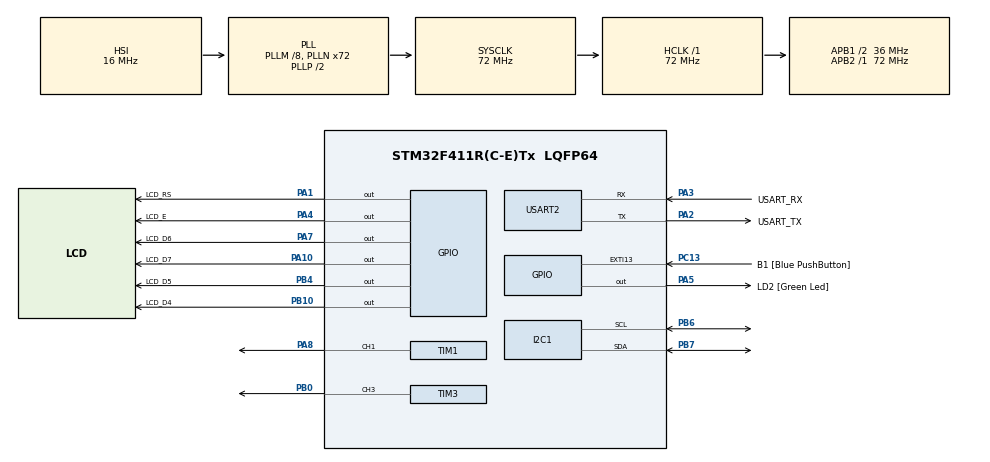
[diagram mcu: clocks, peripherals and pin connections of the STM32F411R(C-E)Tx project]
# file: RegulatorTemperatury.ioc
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Dma.Request0=USART2_RX
Dma.USART2_RX.0.Direction=DMA_PERIPH_TO_MEMORY
Dma.USART2_RX.0.FIFOMode=DMA_FIFOMODE_DISABLE
Dma.USART2_RX.0.Instance=DMA1_Stream5
Dma.USART2_RX.0.MemDataAlignment=DMA_MDATAALIGN_BYTE
Dma.USART2_RX.0.MemInc=DMA_MINC_ENABLE
Dma.USART2_RX.0.Mode=DMA_NORMAL
Dma.USART2_RX.0.PeriphDataAlignment=DMA_PDATAALIGN_BYTE
Dma.USART2_RX.0.PeriphInc=DMA_PINC_DISABLE
Dma.USART2_RX.0.Priority=DMA_PRIORITY_LOW
Mcu.Family=STM32F4
Mcu.Name=STM32F411R(C-E)Tx
Mcu.Package=LQFP64
NVIC.DMA1_Stream5_IRQn=true\:0\:0\:false\:false\:true\:false\:true
NVIC.PriorityGroup=NVIC_PRIORITYGROUP_0
NVIC.TIM3_IRQn=true\:0\:0\:false\:false\:true\:true\:true
NVIC.USART2_IRQn=true\:0\:0\:false\:false\:true\:true\:true
PA1.GPIO_Label=LCD_RS
PA1.Signal=GPIO_Output
PA10.GPIO_Label=LCD_D7
PA10.Signal=GPIO_Output
PA13.GPIO_Label=TMS
PA13.Mode=Serial_Wire
PA13.Signal=SYS_JTMS-SWDIO
PA14.GPIO_Label=TCK
PA14.Mode=Serial_Wire
PA14.Signal=SYS_JTCK-SWCLK
PA2.GPIO_Label=USART_TX
PA2.Mode=Asynchronous
PA2.Signal=USART2_TX
PA3.GPIO_Label=USART_RX
PA3.Mode=Asynchronous
PA3.Signal=USART2_RX
PA4.GPIO_Label=LCD_E
PA4.Signal=GPIO_Output
PA5.GPIO_Label=LD2 [Green Led]
PA5.Signal=GPIO_Output
PA7.GPIO_Label=LCD_D6
PA7.Signal=GPIO_Output
PA8.Signal=S_TIM1_CH1
PB0.Signal=S_TIM3_CH3
PB10.GPIO_Label=LCD_D4
PB10.Signal=GPIO_Output
PB3.GPIO_Label=SWO
PB3.Signal=SYS_JTDO-SWO
PB4.GPIO_Label=LCD_D5
PB4.Signal=GPIO_Output
PB6.Mode=I2C
PB6.Signal=I2C1_SCL
PB7.Mode=I2C
PB7.Signal=I2C1_SDA
PC13-ANTI_TAMP.GPIO_Label=B1 [Blue PushButton]
PC13-ANTI_TAMP.GPIO_ModeDefaultEXTI=GPIO_MODE_IT_FALLING
PC13-ANTI_TAMP.Signal=GPXTI13
PC14-OSC32_IN.Mode=LSE-External-Oscillator
PC14-OSC32_IN.Signal=RCC_OSC32_IN
PC15-OSC32_OUT.Mode=LSE-External-Oscillator
PC15-OSC32_OUT.Signal=RCC_OSC32_OUT
PH0\ -\ OSC_IN.Mode=HSE-External-Clock-Source
PH0\ -\ OSC_IN.Signal=RCC_OSC_IN
PH1\ -\ OSC_OUT.Mode=HSE-External-Clock-Source
PH1\ -\ OSC_OUT.Signal=RCC_OSC_OUT
ProjectManager.HeapSize=0x200
ProjectManager.StackSize=0x400
ProjectManager.TargetToolchain=STM32CubeIDE
RCC.48MHZClocksFreq_Value=36000000
RCC.AHBFreq_Value=72000000
RCC.APB1CLKDivider=RCC_HCLK_DIV2
RCC.APB1Freq_Value=36000000
RCC.APB1TimFreq_Value=72000000
RCC.APB2Freq_Value=72000000
RCC.APB2TimFreq_Value=72000000
RCC.CortexFreq_Value=72000000
RCC.FLatency-AdvancedSettings=FLASH_LATENCY_2
RCC.HCLKFreq_Value=72000000
RCC.HSE_VALUE=8000000
RCC.HSI_VALUE=16000000
RCC.PLLM=8
RCC.PLLN=72
RCC.SYSCLKFreq_VALUE=72000000
RCC.SYSCLKSource=RCC_SYSCLKSOURCE_PLLCLK
RCC.VCOOutputFreq_Value=144000000
SH.S_TIM1_CH1.0=TIM1_CH1,PWM Generation1 CH1
SH.S_TIM3_CH3.0=TIM3_CH3,Output Compare3 CH3
TIM1.Channel-PWM\ Generation1\ CH1=TIM_CHANNEL_1
TIM1.Period=999
TIM1.Prescaler=719
TIM3.Channel-Output\ Compare3\ CH3=TIM_CHANNEL_3
TIM3.Period=9999
TIM3.Prescaler=7199
TIM3.TIM_MasterOutputTrigger=TIM_TRGO_RESET
USART2.VirtualMode=VM_ASYNC
VP_TIM3_VS_ClockSourceINT.Mode=Internal
board=NUCLEO-F411RE

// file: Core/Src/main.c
/* USER CODE BEGIN Header */
/**
  ******************************************************************************
  * @file           : main.c
  * @brief          : Main program body
  ******************************************************************************
  * @attention
  *
  * <h2><center>&copy; Copyright (c) 2022 STMicroelectronics.
  * All rights reserved.</center></h2>
  *
  * This software component is licensed by ST under BSD 3-Clause license,
  * the "License"; You may not use this file except in compliance with the
  * License. You may obtain a copy of the License at:
  *                        opensource.org/licenses/BSD-3-Clause
  *
  ******************************************************************************
  */
/* USER CODE END Header */
#include "main.h"
#include "dma.h"
#include "i2c.h"
#include "tim.h"
#include "usart.h"
#include "gpio.h"

/* USER CODE BEGIN Includes */
#include "BMPXX80.h"
#include "LCD.h"
#include <stdio.h>
#include <string.h>
/* USER CODE END Includes */

/* USER CODE BEGIN PTD */
typedef float float32_t;
typedef struct{
	float32_t Kp;
	float32_t Ki;
	float32_t Kd;
	float32_t dt;
	float32_t previous_error, previous_integral;
}pidRegulator; // PID regulator parameters and variables needed to implement discrete PID
/* USER CODE END PTD */

/* USER CODE BEGIN PD */
#define maxMessageSize 30
/* USER CODE END PD */

/* USER CODE BEGIN PV */
uint8_t singleMessageRecived[maxMessageSize]; //message buf for uart recive
uint8_t singleMessageTransmit[maxMessageSize]; //message buf for uart transmit
uint16_t messageSize = 0; //message size for uart
char stringForLCD[maxMessageSize]; //string used to display data on LCD
float temperature;
int setPoint = 0;
UART_HandleTypeDef huart2;
DMA_HandleTypeDef hdma_usart2_rx;

// PID regulator with parameters taken from matlab simulation of regulated process
pidRegulator pidR = { .Kp=0.09486671759812270, .Ki=0.000482928713856668, .Kd=1.50608802557373, .dt=1.0, .previous_error=0, .previous_integral=0};
/* USER CODE END PV */

void SystemClock_Config(void);
/* USER CODE BEGIN PFP */
float32_t calculate_discrete_pid(pid_t* pid, int setPoint, float32_t temperature){
	float32_t u=0, P, I, D, error, integral, derivative;

	error = setPoint-temperature;

	//proportional part
	P = pidR.Kp * error;

	//integral part
	integral = pidR.previous_integral + (error+pidR.previous_error) ;
	pidR.previous_integral = integral;
	I = pidR.Ki*integral*(pidR.dt/2.0);

	//derivative part
	derivative = (error - pidR.previous_error)/pidR.dt;
	pidR.previous_error = error;
	D = pidR.Kd*derivative;

	u = P  + I + D;

	return u;
}

//Uart handling
void HAL_UART_RxCpltCallback(UART_HandleTypeDef *huart) {
	if(huart->Instance == USART2){

		char *ptr = singleMessageRecived; //ptr to first char in message

		//if message == ?? then return current setPoint
		if(*ptr == '?'){
			messageSize = sprintf(singleMessageTransmit, "%d", setPoint);
			HAL_UART_Transmit_IT(&huart2, singleMessageTransmit, messageSize);
		} else { //else set new setPoint
			setPoint = atoi(ptr);
		}

		HAL_UART_Receive_IT(&huart2, singleMessageRecived, 2);
	}
}

/*void HAL_UARTEx_RxEventCallback(UART_HandleTypeDef *huart, uint16_t Size){
	if(huart->Instance == USART2){
		char *ptr = singleMessageRecived;
		if(*ptr == '?'){
			messageSize = sprintf(singleMessageTransmit, "%d", setPoint);
			HAL_UART_Transmit_IT(&huart2, singleMessageTransmit, messageSize);
		} else {
			setPoint = atoi(ptr);
			messageSize = sprintf(singleMessageTransmit, "%d", setPoint);
			HAL_UART_Transmit_IT(&huart2, singleMessageTransmit, messageSize);
		}
		HAL_UARTEx_ReceiveToIdle_DMA(&huart2, singleMessageRecived, maxMessageSize);
		__HAL_DMA_DISABLE_IT(&hdma_usart2_rx, DMA_IT_HT);
	}
}*/

void HAL_TIM_PeriodElapsedCallback(TIM_HandleTypeDef *htim){
	if(htim->Instance == TIM3){
		temperature = BMP280_ReadTemperature();                                       //reading temp from sensor

		sprintf(singleMessageTransmit, "%f", temperature);                            //temp to list of uint8_t conversion
		sprintf(stringForLCD, "%s\0", singleMessageTransmit);                         //list of uint8_t to string conversion
		LCD_goto_xy(0,11);                                                            //display curr temp on LCD
		LCD_write_text(stringForLCD);

		sprintf(singleMessageTransmit, "%d", setPoint);                               //setPoint to list of uint8_t conversion
		sprintf(stringForLCD, "%s\0", singleMessageTransmit);                         //list of uint8_t to string conversion
		LCD_goto_xy(1,11);                                                            //display setPoint on LCD
		LCD_write_text(stringForLCD);

		//calculating duty for PWM signal with PID regulator
		float dutyF = (999.0 * calculate_discrete_pid(&pidR, setPoint, temperature));
		uint16_t duty = 0;
		//saturation implementation
		if(dutyF < 0 ) duty = 0; else
		if(dutyF > 999.0) duty = 999; else
			duty = (uint16_t)dutyF;
		//set curr duty
		__HAL_TIM_SET_COMPARE(&htim1,TIM_CHANNEL_1,duty);
	}
}
/* USER CODE END PFP */

int main(void)
{

  /* MCU Configuration--------------------------------------------------------*/

  /* Reset of all peripherals, Initializes the Flash interface and the Systick. */
  HAL_Init();

  /* Configure the system clock */
  SystemClock_Config();

  /* Initialize all configured peripherals */
  MX_GPIO_Init();
  MX_USART2_UART_Init();
  MX_I2C1_Init();
  MX_TIM3_Init();
  MX_DMA_Init();
  MX_TIM1_Init();
  /* USER CODE BEGIN 2 */
  //HAL_UARTEx_ReceiveToIdle_DMA(&huart2, singleMessageRecived, maxMessageSize);
  //__HAL_DMA_DISABLE_IT(&hdma_usart2_rx, DMA_IT_HT);
  HAL_UART_Receive_IT(&huart2, singleMessageRecived, 2); //uart interrupt init
  HAL_TIM_Base_Start_IT(&htim3);                         //dt tim interrupt init
  LCD_init();                                            //LCD init + setting initial layout
  LCD_goto_xy(0,0);
  LCD_write_text("CurTemp : ");
  LCD_goto_xy(1,0);
  LCD_write_text("RefTemp : ");
  BMP280_Init(&hi2c1, BMP280_TEMPERATURE_16BIT, BMP280_STANDARD, BMP280_FORCEDMODE); //temp sensor init
  HAL_TIM_PWM_Start(&htim1, TIM_CHANNEL_1);                                          //PWM init
  __HAL_TIM_SET_COMPARE(&htim1,TIM_CHANNEL_1,0);                                     //init duty = 0
  /* USER CODE END 2 */

  /* Infinite loop */
  while (1)
  {

  }
}

void SystemClock_Config(void)
{
  RCC_OscInitTypeDef RCC_OscInitStruct = {0};
  RCC_ClkInitTypeDef RCC_ClkInitStruct = {0};

  /** Configure the main internal regulator output voltage
  */
  __HAL_RCC_PWR_CLK_ENABLE();
  __HAL_PWR_VOLTAGESCALING_CONFIG(PWR_REGULATOR_VOLTAGE_SCALE1);
  /** Initializes the RCC Oscillators according to the specified parameters
  * in the RCC_OscInitTypeDef structure.
  */
  RCC_OscInitStruct.OscillatorType = RCC_OSCILLATORTYPE_HSI;
  RCC_OscInitStruct.HSIState = RCC_HSI_ON;
  RCC_OscInitStruct.HSICalibrationValue = RCC_HSICALIBRATION_DEFAULT;
  RCC_OscInitStruct.PLL.PLLState = RCC_PLL_ON;
  RCC_OscInitStruct.PLL.PLLSource = RCC_PLLSOURCE_HSI;
  RCC_OscInitStruct.PLL.PLLM = 8;
  RCC_OscInitStruct.PLL.PLLN = 72;
  RCC_OscInitStruct.PLL.PLLP = RCC_PLLP_DIV2;
  RCC_OscInitStruct.PLL.PLLQ = 4;
  if (HAL_RCC_OscConfig(&RCC_OscInitStruct) != HAL_OK)
  {
    Error_Handler();
  }
  /** Initializes the CPU, AHB and APB buses clocks
  */
  RCC_ClkInitStruct.ClockType = RCC_CLOCKTYPE_HCLK|RCC_CLOCKTYPE_SYSCLK
                              |RCC_CLOCKTYPE_PCLK1|RCC_CLOCKTYPE_PCLK2;
  RCC_ClkInitStruct.SYSCLKSource = RCC_SYSCLKSOURCE_PLLCLK;
  RCC_ClkInitStruct.AHBCLKDivider = RCC_SYSCLK_DIV1;
  RCC_ClkInitStruct.APB1CLKDivider = RCC_HCLK_DIV2;
  RCC_ClkInitStruct.APB2CLKDivider = RCC_HCLK_DIV1;

  if (HAL_RCC_ClockConfig(&RCC_ClkInitStruct, FLASH_LATENCY_2) != HAL_OK)
  {
    Error_Handler();
  }
}

void Error_Handler(void)
{
  __disable_irq();
  while (1)
  {
  }
}

/************************ (C) COPYRIGHT STMicroelectronics *****END OF FILE****/
